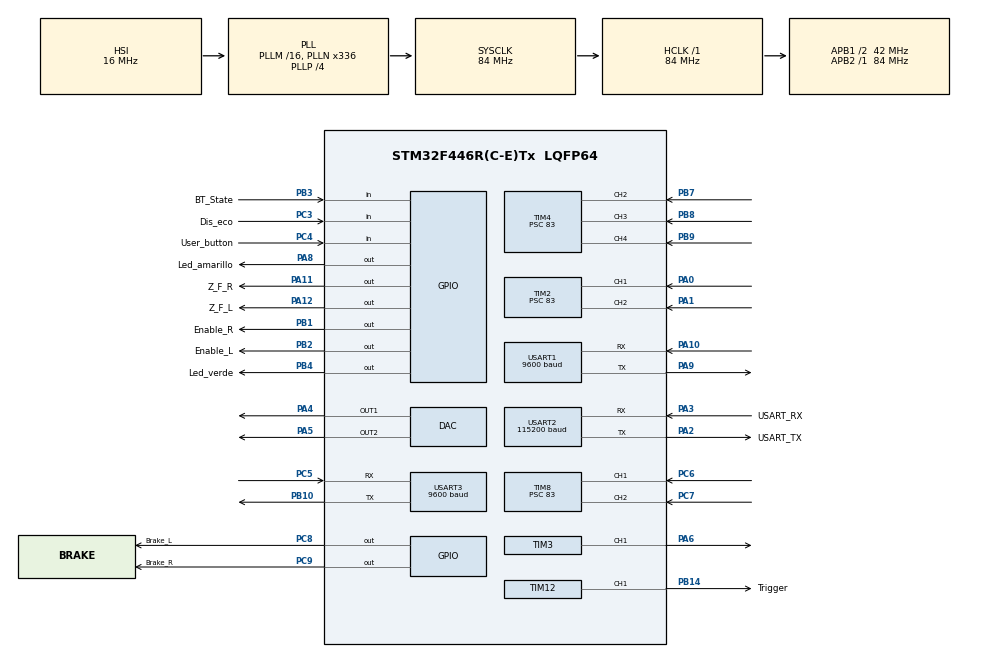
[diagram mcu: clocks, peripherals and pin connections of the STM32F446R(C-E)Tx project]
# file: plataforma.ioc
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Dma.Request0=USART1_TX
Dma.Request1=USART3_TX
Dma.USART1_TX.0.Direction=DMA_MEMORY_TO_PERIPH
Dma.USART1_TX.0.FIFOMode=DMA_FIFOMODE_DISABLE
Dma.USART1_TX.0.Instance=DMA2_Stream7
Dma.USART1_TX.0.MemDataAlignment=DMA_MDATAALIGN_BYTE
Dma.USART1_TX.0.MemInc=DMA_MINC_ENABLE
Dma.USART1_TX.0.Mode=DMA_NORMAL
Dma.USART1_TX.0.PeriphDataAlignment=DMA_PDATAALIGN_BYTE
Dma.USART1_TX.0.PeriphInc=DMA_PINC_DISABLE
Dma.USART1_TX.0.Priority=DMA_PRIORITY_LOW
Dma.USART3_TX.1.Direction=DMA_MEMORY_TO_PERIPH
Dma.USART3_TX.1.FIFOMode=DMA_FIFOMODE_DISABLE
Dma.USART3_TX.1.Instance=DMA1_Stream3
Dma.USART3_TX.1.MemDataAlignment=DMA_MDATAALIGN_BYTE
Dma.USART3_TX.1.MemInc=DMA_MINC_ENABLE
Dma.USART3_TX.1.Mode=DMA_NORMAL
Dma.USART3_TX.1.PeriphDataAlignment=DMA_PDATAALIGN_BYTE
Dma.USART3_TX.1.PeriphInc=DMA_PINC_DISABLE
Dma.USART3_TX.1.Priority=DMA_PRIORITY_LOW
Mcu.Family=STM32F4
Mcu.Name=STM32F446R(C-E)Tx
Mcu.Package=LQFP64
NVIC.DMA1_Stream3_IRQn=true\:0\:0\:false\:false\:true\:false\:true
NVIC.DMA2_Stream7_IRQn=true\:0\:0\:false\:false\:true\:false\:true
NVIC.PriorityGroup=NVIC_PRIORITYGROUP_0
NVIC.TIM2_IRQn=true\:0\:0\:false\:false\:true\:true\:true
NVIC.TIM4_IRQn=true\:0\:0\:false\:false\:true\:true\:true
NVIC.TIM8_CC_IRQn=true\:0\:0\:false\:false\:true\:true\:true
NVIC.USART1_IRQn=true\:0\:0\:false\:false\:true\:true\:true
NVIC.USART3_IRQn=true\:0\:0\:false\:false\:true\:true\:true
PA0-WKUP.Signal=S_TIM2_CH1_ETR
PA1.Signal=S_TIM2_CH2
PA10.Mode=Asynchronous
PA10.Signal=USART1_RX
PA11.GPIO_Label=Z_F_R
PA11.Signal=GPIO_Output
PA12.GPIO_Label=Z_F_L
PA12.Signal=GPIO_Output
PA13.GPIO_Label=TMS
PA13.Mode=Serial_Wire
PA13.Signal=SYS_JTMS-SWDIO
PA14.GPIO_Label=TCK
PA14.Mode=Serial_Wire
PA14.Signal=SYS_JTCK-SWCLK
PA2.GPIO_Label=USART_TX
PA2.Mode=Asynchronous
PA2.Signal=USART2_TX
PA3.GPIO_Label=USART_RX
PA3.Mode=Asynchronous
PA3.Signal=USART2_RX
PA4.Signal=COMP_DAC1_group
PA5.Signal=COMP_DAC2_group
PA6.Signal=S_TIM3_CH1
PA8.GPIO_Label=Led_amarillo
PA8.GPIO_Speed=GPIO_SPEED_FREQ_LOW
PA8.Signal=GPIO_Output
PA9.Mode=Asynchronous
PA9.Signal=USART1_TX
PB1.GPIO_Label=Enable_R
PB1.Signal=GPIO_Output
PB10.Mode=Asynchronous
PB10.Signal=USART3_TX
PB14.GPIO_Label=Trigger
PB14.Signal=S_TIM12_CH1
PB2.GPIO_Label=Enable_L
PB2.Signal=GPIO_Output
PB3.GPIO_Label=BT_State
PB3.Signal=GPIO_Input
PB4.GPIO_Label=Led_verde
PB4.Signal=GPIO_Output
PB7.Signal=S_TIM4_CH2
PB8.Signal=S_TIM4_CH3
PB9.Signal=S_TIM4_CH4
PC3.GPIO_Label=Dis_eco
PC3.GPIO_PuPd=GPIO_PULLUP
PC3.Signal=GPIO_Input
PC4.GPIO_Label=User_button
PC4.GPIO_PuPd=GPIO_PULLUP
PC4.Signal=GPIO_Input
PC5.Mode=Asynchronous
PC5.Signal=USART3_RX
PC6.Signal=S_TIM8_CH1
PC7.Signal=S_TIM8_CH2
PC8.GPIO_Label=Brake_L
PC8.Signal=GPIO_Output
PC9.GPIO_Label=Brake_R
PC9.Signal=GPIO_Output
ProjectManager.HeapSize=0x200
ProjectManager.StackSize=0x400
ProjectManager.TargetToolchain=STM32CubeIDE
RCC.48MHZClocksFreq_Value=84000000
RCC.AHBFreq_Value=84000000
RCC.APB1CLKDivider=RCC_HCLK_DIV2
RCC.APB1Freq_Value=42000000
RCC.APB1TimFreq_Value=84000000
RCC.APB2Freq_Value=84000000
RCC.APB2TimFreq_Value=84000000
RCC.CortexFreq_Value=84000000
RCC.FLatency-AdvancedSettings=FLASH_LATENCY_2
RCC.HCLKFreq_Value=84000000
RCC.HSE_VALUE=8000000
RCC.HSI_VALUE=16000000
RCC.PLLN=336
RCC.PLLP=RCC_PLLP_DIV4
RCC.SYSCLKFreq_VALUE=84000000
RCC.SYSCLKSource=RCC_SYSCLKSOURCE_PLLCLK
RCC.USBFreq_Value=168000000
RCC.VCOOutputFreq_Value=336000000
SH.COMP_DAC1_group.0=DAC_OUT1,DAC_OUT1
SH.COMP_DAC2_group.0=DAC_OUT2,DAC_OUT2
SH.S_TIM12_CH1.0=TIM12_CH1,PWM Generation1 CH1
SH.S_TIM2_CH1_ETR.0=TIM2_CH1,Input_Capture1_from_TI1
SH.S_TIM2_CH2.0=TIM2_CH2,Input_Capture2_from_TI2
SH.S_TIM3_CH1.0=TIM3_CH1,PWM Generation1 CH1
SH.S_TIM4_CH2.0=TIM4_CH2,Input_Capture2_from_TI2
SH.S_TIM4_CH3.0=TIM4_CH3,Input_Capture3_from_TI3
SH.S_TIM4_CH4.0=TIM4_CH4,Input_Capture4_from_TI4
SH.S_TIM8_CH1.0=TIM8_CH1,Input_Capture1_from_TI1
SH.S_TIM8_CH2.0=TIM8_CH2,Input_Capture2_from_TI2
TIM12.AutoReloadPreload=TIM_AUTORELOAD_PRELOAD_ENABLE
TIM12.Channel-PWM\ Generation1\ CH1=TIM_CHANNEL_1
TIM12.Period=65000
TIM12.Prescaler=167
TIM12.Pulse-PWM\ Generation1\ CH1=1000
TIM2.Channel-Input_Capture1_from_TI1=TIM_CHANNEL_1
TIM2.Channel-Input_Capture2_from_TI2=TIM_CHANNEL_2
TIM2.Prescaler=83
TIM3.Channel-PWM\ Generation1\ CH1=TIM_CHANNEL_1
TIM4.AutoReloadPreload=TIM_AUTORELOAD_PRELOAD_ENABLE
TIM4.Channel-Input_Capture2_from_TI2=TIM_CHANNEL_2
TIM4.Channel-Input_Capture3_from_TI3=TIM_CHANNEL_3
TIM4.Channel-Input_Capture4_from_TI4=TIM_CHANNEL_4
TIM4.ICFilter_CH2=8
TIM4.ICFilter_CH3=8
TIM4.ICFilter_CH4=8
TIM4.ICPolarity_CH2=TIM_INPUTCHANNELPOLARITY_BOTHEDGE
TIM4.ICPolarity_CH3=TIM_INPUTCHANNELPOLARITY_BOTHEDGE
TIM4.ICPolarity_CH4=TIM_INPUTCHANNELPOLARITY_BOTHEDGE
TIM4.Prescaler=83
TIM8.AutoReloadPreload=TIM_AUTORELOAD_PRELOAD_ENABLE
TIM8.Channel-Input_Capture1_from_TI1=TIM_CHANNEL_1
TIM8.Channel-Input_Capture2_from_TI2=TIM_CHANNEL_2
TIM8.ICFilter_CH1=8
TIM8.ICFilter_CH2=8
TIM8.ICPolarity_CH1=TIM_INPUTCHANNELPOLARITY_BOTHEDGE
TIM8.ICPolarity_CH2=TIM_INPUTCHANNELPOLARITY_BOTHEDGE
TIM8.Prescaler=83
USART1.BaudRate=9600
USART1.VirtualMode=VM_ASYNC
USART2.BaudRate=115200
USART2.VirtualMode=VM_ASYNC
USART3.BaudRate=9600
USART3.VirtualMode=VM_ASYNC
VP_TIM12_VS_ClockSourceINT.Mode=Internal
VP_TIM2_VS_ClockSourceINT.Mode=Internal
VP_TIM3_VS_ClockSourceINT.Mode=Internal
VP_TIM4_VS_ClockSourceINT.Mode=Internal
board=NUCLEO-F446RE

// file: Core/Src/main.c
/* USER CODE BEGIN Header */
/**
  ******************************************************************************
  * @file           : main.c
  * @brief          : Main program body
  ******************************************************************************
  * @attention
  *
  * <h2><center>&copy; Copyright (c) 2022 STMicroelectronics.
  * All rights reserved.</center></h2>
  *
  * This software component is licensed by ST under BSD 3-Clause license,
  * the "License"; You may not use this file except in compliance with the
  * License. You may obtain a copy of the License at:
  *                        opensource.org/licenses/BSD-3-Clause
  *
  ******************************************************************************
  */

/* USER CODE END Header */
#include "main.h"

/* USER CODE BEGIN Includes */
/*Este archivo contiene, fundamentalmente, la configuración del hardware
 * del STM32 para el manejo de la Silla Exploradora, inicialización de algunas
 * variables, el gestor de tareas y la rutina HAL_IntTick que se ejecuta cada 1ms.
 *
 * En concreto, el hardware utilizado es:
 * USART1 Para la comunicación con el móvil a través de un enlace Bluetooth a 9600bps
 * USART2 Para la programación
 * USART3 Para el uso del DSPmp3 a una comunicación a 9600bps
 *
 * LEDS:
 * 	Amarillo: PA8
 * 		Continuo: Conectado a Bluetooth y Comenzar pulsado
 * 		Discontinuo Lento: Esperando botón Comenzar
 * 		Discontinuo Rápido: Sin conectar a Bluetooth
 * 	Verde: PB4
 *		Discontinuo Lento: Esperando pulsación
 *		Discontinua rápido: Marcha atrás
 *		Continuo: Marcha adelante
 *		Apagado: Esperando conexión y comenzar
 *
 *	Conector para pulsador adaptado: PC4
 *	Conector para deshabilitar ultrasonidos: PC3
 *	Controlador de motores
 *		Para cada uno de los motores, derecho e izquierdo, tenemos las
 *		siguientes señales
 *					R			L		tipo
 *		Enable		PB1			PB2		salida STM32
 *		dirección	PA11		PA12	salida STM32
 *		Brake		PC9			PC8		salida STM32
 *		Signal		PA0			PA1		entrada STM32
 *		DAC			PA5			PA4		salida STM32
 *
 *		El motor izquierdo tiene etiqueta 0, y el derecho, la 1
 *
 *	Convertidor DAC para el control de los motores
 *	Anillo de sensores de ultrasonidos.
 *		Cada sensor de ultrasonidos tiene dos terminales de control: Eco, Trigger
 *		Los sensores se enumeran de la siguiente forma. Situándonos desde la parte
 *		trasera de la plataforma, de izquierda a derecha, los sensores frontales
 *		son el 0,1,2 y los traseros, el 3 y 4
 *
 *		El trigger es común para los 5 ultrasonidos PB14
 *
 *				1	2	3	4	5
 *		Eco		PB6	PB7	PB8	PC6	PC7
 *
 *
 *	Se configuran Timers para el control del sistema
 *
 *	Timer2 -> Velocidad de los motores. 0 izquerda, 1 derecha, conectados
 *		a PA01 y PA1 respectivamente. Es timer de 32 bits, con prescaler de 83
 *		Channel 1 y 2 input capture RISING EDGE
 *	Timer12-> Generación de Trigger para los sensores de ultrasonidos
 *		Prescaler 83, period =60000, pulse =40, PWM1 Ch1, TriggerEvent=Update
 *		Auto-reload = enable
 *
 *	Timer4 -> Medición de pulsos para los ecos de los sensores delanteros (0,1,2)
 *		Prescaler 83, period=65535
 *		Ch1-> PB6,Input capture, BOTH EDGES
 *		Ch2-> PB7,Input capture, BOTH EDGES
 *		Ch3-> PB8,Input capture, BOTH EDGES
 *
 *	Timer8 -> Medición de pulsos para los ecos de los sensores traseros (3,4)
 *		Prescaler 83, period=65535
 *		Ch1 ICDM, BOTH EDGES
 *		Ch2 ICDM, BOTH EDGES
 *
 *
 * *
 *  */
#include "globales.h"

void InicializaVariables(void);
void GestorTareas(void);
/* USER CODE END Includes */

DAC_HandleTypeDef hdac;

TIM_HandleTypeDef htim2;
TIM_HandleTypeDef htim3;
TIM_HandleTypeDef htim4;
TIM_HandleTypeDef htim8;
TIM_HandleTypeDef htim12;

UART_HandleTypeDef huart1;
UART_HandleTypeDef huart2;
UART_HandleTypeDef huart3;
DMA_HandleTypeDef hdma_usart1_tx;
DMA_HandleTypeDef hdma_usart3_tx;

void SystemClock_Config(void);
static void MX_GPIO_Init(void);
static void MX_USART2_UART_Init(void);
static void MX_DMA_Init(void);
static void MX_USART1_UART_Init(void);
static void MX_DAC_Init(void);
static void MX_TIM2_Init(void);
static void MX_TIM3_Init(void);
static void MX_TIM12_Init(void);
static void MX_TIM8_Init(void);
static void MX_TIM4_Init(void);
static void MX_USART3_UART_Init(void);

/* USER CODE BEGIN 0 */
extern int16_t mandog[2]; // Para el control de los motores

/* USER CODE END 0 */

int main(void)
{
  /* USER CODE BEGIN 1 */
	//tick.tiempo = 0;
//	uint8_t user_input;
  /* USER CODE END 1 */

  /* MCU Configuration--------------------------------------------------------*/

  /* Reset of all peripherals, Initializes the Flash interface and the Systick. */
  HAL_Init();

  /* Configure the system clock */
  SystemClock_Config();

  /* Initialize all configured peripherals */
  MX_GPIO_Init();
  MX_USART2_UART_Init();
  MX_DMA_Init();
  MX_USART1_UART_Init();
  MX_DAC_Init();
  MX_TIM2_Init();
  MX_TIM3_Init();
  MX_TIM12_Init();
  MX_TIM8_Init();
  MX_TIM4_Init();
  MX_USART3_UART_Init();
  /* USER CODE BEGIN 2 */

  //Para el control del motor
  HAL_DAC_Start(&hdac, DAC_CHANNEL_1);
  HAL_DAC_Start(&hdac, DAC_CHANNEL_2);

  //Para la medida de los Hall
  HAL_TIM_IC_Start_IT(&htim2, TIM_CHANNEL_1);
  HAL_TIM_IC_Start_IT(&htim2, TIM_CHANNEL_2);

  //Para el trigger de los dispositivos de ultrasonidos
   HAL_TIM_PWM_Start(&htim12,TIM_CHANNEL_1);

   //Para los ecos de los ultrasonidos traseros
   HAL_TIM_IC_Start_IT(&htim8, TIM_CHANNEL_1);
   HAL_TIM_IC_Start_IT(&htim8, TIM_CHANNEL_2);

   //Ppara los ecos de los ultrasonidos delanteros
    HAL_TIM_IC_Start_IT(&htim4, TIM_CHANNEL_2);
    HAL_TIM_IC_Start_IT(&htim4, TIM_CHANNEL_3);
    HAL_TIM_IC_Start_IT(&htim4, TIM_CHANNEL_4);

  InicializaVariables();
 // bt_command='0';
  //HAL_UART_Receive_IT(&huart1, &bt_command, sizeof(uint8_t));
  /* USER CODE END 2 */

  /* Infinite loop */
  /* USER CODE BEGIN WHILE */
  //ActualizaVelocidad(-700,500);
  while (1)
  {
    /* USER CODE END WHILE */

    /* USER CODE BEGIN 3 */

/*		HAL_DAC_SetValue(&hdac, DAC_CHANNEL_1,DAC_ALIGN_12B_R , 1500);
		HAL_DAC_SetValue(&hdac, DAC_CHANNEL_2,DAC_ALIGN_12B_R , 1500);
*/
	GestorTareas();
/*
	if(com.bt_state)
		hard.leds=(LEDY_ON_1_DE_2 | LEDG_ON_1_DE_5);
	else
		hard.leds=(LEDY_OFF | LEDG_ON);
*/
	/*if(tick.tiempo == 4000)
	{

   	   ActualizaVelocidad(600,400);
	}
		if(tick.tiempo ==8000)
		{
		   	ActualizaVelocidad(0,0);
			tick.tiempo = 0;
		}

	DetectaMovimiento();
*/
/*
	HAL_DAC_SetValue(&hdac, 0,DAC_ALIGN_12B_R , 500);
	HAL_GPIO_WritePin(GPIOB, GPIO_PIN_2, GPIO_PIN_RESET);  //Disable
	//HAL_GPIO_WritePin(GPIOC, GPIO_PIN_9, GPIO_PIN_SET);  //Brake
	HAL_GPIO_WritePin(GPIOA, GPIO_PIN_12, GPIO_PIN_RESET); //Direction

	HAL_DAC_SetValue(&hdac, 16 ,DAC_ALIGN_12B_R , 500);
	HAL_GPIO_WritePin(GPIOB, GPIO_PIN_1, GPIO_PIN_RESET);  //Disable
	//HAL_GPIO_WritePin(GPIOC, GPIO_PIN_9, GPIO_PIN_SET);  //Brake
	HAL_GPIO_WritePin(GPIOA, GPIO_PIN_11, GPIO_PIN_SET); //Direction
*/

  }
  /* USER CODE END 3 */
}

void SystemClock_Config(void)
{
  RCC_OscInitTypeDef RCC_OscInitStruct = {0};
  RCC_ClkInitTypeDef RCC_ClkInitStruct = {0};

  /** Configure the main internal regulator output voltage
  */
  __HAL_RCC_PWR_CLK_ENABLE();
  __HAL_PWR_VOLTAGESCALING_CONFIG(PWR_REGULATOR_VOLTAGE_SCALE3);
  /** Initializes the RCC Oscillators according to the specified parameters
  * in the RCC_OscInitTypeDef structure.
  */
  RCC_OscInitStruct.OscillatorType = RCC_OSCILLATORTYPE_HSI;
  RCC_OscInitStruct.HSIState = RCC_HSI_ON;
  RCC_OscInitStruct.HSICalibrationValue = RCC_HSICALIBRATION_DEFAULT;
  RCC_OscInitStruct.PLL.PLLState = RCC_PLL_ON;
  RCC_OscInitStruct.PLL.PLLSource = RCC_PLLSOURCE_HSI;
  RCC_OscInitStruct.PLL.PLLM = 16;
  RCC_OscInitStruct.PLL.PLLN = 336;
  RCC_OscInitStruct.PLL.PLLP = RCC_PLLP_DIV4;
  RCC_OscInitStruct.PLL.PLLQ = 2;
  RCC_OscInitStruct.PLL.PLLR = 2;
  if (HAL_RCC_OscConfig(&RCC_OscInitStruct) != HAL_OK)
  {
    Error_Handler();
  }
  /** Initializes the CPU, AHB and APB buses clocks
  */
  RCC_ClkInitStruct.ClockType = RCC_CLOCKTYPE_HCLK|RCC_CLOCKTYPE_SYSCLK
                              |RCC_CLOCKTYPE_PCLK1|RCC_CLOCKTYPE_PCLK2;
  RCC_ClkInitStruct.SYSCLKSource = RCC_SYSCLKSOURCE_PLLCLK;
  RCC_ClkInitStruct.AHBCLKDivider = RCC_SYSCLK_DIV1;
  RCC_ClkInitStruct.APB1CLKDivider = RCC_HCLK_DIV2;
  RCC_ClkInitStruct.APB2CLKDivider = RCC_HCLK_DIV1;

  if (HAL_RCC_ClockConfig(&RCC_ClkInitStruct, FLASH_LATENCY_2) != HAL_OK)
  {
    Error_Handler();
  }
}

static void MX_DAC_Init(void)
{

  DAC_ChannelConfTypeDef sConfig = {0};

  /** DAC Initialization
  */
  hdac.Instance = DAC;
  if (HAL_DAC_Init(&hdac) != HAL_OK)
  {
    Error_Handler();
  }
  /** DAC channel OUT1 config
  */
  sConfig.DAC_Trigger = DAC_TRIGGER_NONE;
  sConfig.DAC_OutputBuffer = DAC_OUTPUTBUFFER_ENABLE;
  if (HAL_DAC_ConfigChannel(&hdac, &sConfig, DAC_CHANNEL_1) != HAL_OK)
  {
    Error_Handler();
  }
  /** DAC channel OUT2 config
  */
  if (HAL_DAC_ConfigChannel(&hdac, &sConfig, DAC_CHANNEL_2) != HAL_OK)
  {
    Error_Handler();
  }

}

static void MX_TIM2_Init(void)
{

  TIM_ClockConfigTypeDef sClockSourceConfig = {0};
  TIM_MasterConfigTypeDef sMasterConfig = {0};
  TIM_IC_InitTypeDef sConfigIC = {0};

  htim2.Instance = TIM2;
  htim2.Init.Prescaler = 83;
  htim2.Init.CounterMode = TIM_COUNTERMODE_UP;
  htim2.Init.Period = 4294967295;
  htim2.Init.ClockDivision = TIM_CLOCKDIVISION_DIV1;
  htim2.Init.AutoReloadPreload = TIM_AUTORELOAD_PRELOAD_DISABLE;
  if (HAL_TIM_Base_Init(&htim2) != HAL_OK)
  {
    Error_Handler();
  }
  sClockSourceConfig.ClockSource = TIM_CLOCKSOURCE_INTERNAL;
  if (HAL_TIM_ConfigClockSource(&htim2, &sClockSourceConfig) != HAL_OK)
  {
    Error_Handler();
  }
  if (HAL_TIM_IC_Init(&htim2) != HAL_OK)
  {
    Error_Handler();
  }
  sMasterConfig.MasterOutputTrigger = TIM_TRGO_RESET;
  sMasterConfig.MasterSlaveMode = TIM_MASTERSLAVEMODE_DISABLE;
  if (HAL_TIMEx_MasterConfigSynchronization(&htim2, &sMasterConfig) != HAL_OK)
  {
    Error_Handler();
  }
  sConfigIC.ICPolarity = TIM_INPUTCHANNELPOLARITY_RISING;
  sConfigIC.ICSelection = TIM_ICSELECTION_DIRECTTI;
  sConfigIC.ICPrescaler = TIM_ICPSC_DIV1;
  sConfigIC.ICFilter = 0;
  if (HAL_TIM_IC_ConfigChannel(&htim2, &sConfigIC, TIM_CHANNEL_1) != HAL_OK)
  {
    Error_Handler();
  }
  if (HAL_TIM_IC_ConfigChannel(&htim2, &sConfigIC, TIM_CHANNEL_2) != HAL_OK)
  {
    Error_Handler();
  }

}

static void MX_TIM3_Init(void)
{

  TIM_ClockConfigTypeDef sClockSourceConfig = {0};
  TIM_MasterConfigTypeDef sMasterConfig = {0};
  TIM_OC_InitTypeDef sConfigOC = {0};

  htim3.Instance = TIM3;
  htim3.Init.Prescaler = 0;
  htim3.Init.CounterMode = TIM_COUNTERMODE_UP;
  htim3.Init.Period = 65535;
  htim3.Init.ClockDivision = TIM_CLOCKDIVISION_DIV1;
  htim3.Init.AutoReloadPreload = TIM_AUTORELOAD_PRELOAD_DISABLE;
  if (HAL_TIM_Base_Init(&htim3) != HAL_OK)
  {
    Error_Handler();
  }
  sClockSourceConfig.ClockSource = TIM_CLOCKSOURCE_INTERNAL;
  if (HAL_TIM_ConfigClockSource(&htim3, &sClockSourceConfig) != HAL_OK)
  {
    Error_Handler();
  }
  if (HAL_TIM_PWM_Init(&htim3) != HAL_OK)
  {
    Error_Handler();
  }
  sMasterConfig.MasterOutputTrigger = TIM_TRGO_RESET;
  sMasterConfig.MasterSlaveMode = TIM_MASTERSLAVEMODE_DISABLE;
  if (HAL_TIMEx_MasterConfigSynchronization(&htim3, &sMasterConfig) != HAL_OK)
  {
    Error_Handler();
  }
  sConfigOC.OCMode = TIM_OCMODE_PWM1;
  sConfigOC.Pulse = 0;
  sConfigOC.OCPolarity = TIM_OCPOLARITY_HIGH;
  sConfigOC.OCFastMode = TIM_OCFAST_DISABLE;
  if (HAL_TIM_PWM_ConfigChannel(&htim3, &sConfigOC, TIM_CHANNEL_1) != HAL_OK)
  {
    Error_Handler();
  }
  HAL_TIM_MspPostInit(&htim3);

}

static void MX_TIM4_Init(void)
{

  TIM_ClockConfigTypeDef sClockSourceConfig = {0};
  TIM_MasterConfigTypeDef sMasterConfig = {0};
  TIM_IC_InitTypeDef sConfigIC = {0};

  htim4.Instance = TIM4;
  htim4.Init.Prescaler = 83;
  htim4.Init.CounterMode = TIM_COUNTERMODE_UP;
  htim4.Init.Period = 65535;
  htim4.Init.ClockDivision = TIM_CLOCKDIVISION_DIV1;
  htim4.Init.AutoReloadPreload = TIM_AUTORELOAD_PRELOAD_ENABLE;
  if (HAL_TIM_Base_Init(&htim4) != HAL_OK)
  {
    Error_Handler();
  }
  sClockSourceConfig.ClockSource = TIM_CLOCKSOURCE_INTERNAL;
  if (HAL_TIM_ConfigClockSource(&htim4, &sClockSourceConfig) != HAL_OK)
  {
    Error_Handler();
  }
  if (HAL_TIM_IC_Init(&htim4) != HAL_OK)
  {
    Error_Handler();
  }
  sMasterConfig.MasterOutputTrigger = TIM_TRGO_RESET;
  sMasterConfig.MasterSlaveMode = TIM_MASTERSLAVEMODE_DISABLE;
  if (HAL_TIMEx_MasterConfigSynchronization(&htim4, &sMasterConfig) != HAL_OK)
  {
    Error_Handler();
  }
  sConfigIC.ICPolarity = TIM_INPUTCHANNELPOLARITY_BOTHEDGE;
  sConfigIC.ICSelection = TIM_ICSELECTION_DIRECTTI;
  sConfigIC.ICPrescaler = TIM_ICPSC_DIV1;
  sConfigIC.ICFilter = 8;
  if (HAL_TIM_IC_ConfigChannel(&htim4, &sConfigIC, TIM_CHANNEL_2) != HAL_OK)
  {
    Error_Handler();
  }
  if (HAL_TIM_IC_ConfigChannel(&htim4, &sConfigIC, TIM_CHANNEL_3) != HAL_OK)
  {
    Error_Handler();
  }
  if (HAL_TIM_IC_ConfigChannel(&htim4, &sConfigIC, TIM_CHANNEL_4) != HAL_OK)
  {
    Error_Handler();
  }

}

static void MX_TIM8_Init(void)
{

  TIM_MasterConfigTypeDef sMasterConfig = {0};
  TIM_IC_InitTypeDef sConfigIC = {0};

  htim8.Instance = TIM8;
  htim8.Init.Prescaler = 83;
  htim8.Init.CounterMode = TIM_COUNTERMODE_UP;
  htim8.Init.Period = 65535;
  htim8.Init.ClockDivision = TIM_CLOCKDIVISION_DIV1;
  htim8.Init.RepetitionCounter = 0;
  htim8.Init.AutoReloadPreload = TIM_AUTORELOAD_PRELOAD_ENABLE;
  if (HAL_TIM_IC_Init(&htim8) != HAL_OK)
  {
    Error_Handler();
  }
  sMasterConfig.MasterOutputTrigger = TIM_TRGO_RESET;
  sMasterConfig.MasterSlaveMode = TIM_MASTERSLAVEMODE_DISABLE;
  if (HAL_TIMEx_MasterConfigSynchronization(&htim8, &sMasterConfig) != HAL_OK)
  {
    Error_Handler();
  }
  sConfigIC.ICPolarity = TIM_INPUTCHANNELPOLARITY_BOTHEDGE;
  sConfigIC.ICSelection = TIM_ICSELECTION_DIRECTTI;
  sConfigIC.ICPrescaler = TIM_ICPSC_DIV1;
  sConfigIC.ICFilter = 8;
  if (HAL_TIM_IC_ConfigChannel(&htim8, &sConfigIC, TIM_CHANNEL_1) != HAL_OK)
  {
    Error_Handler();
  }
  if (HAL_TIM_IC_ConfigChannel(&htim8, &sConfigIC, TIM_CHANNEL_2) != HAL_OK)
  {
    Error_Handler();
  }

}

static void MX_TIM12_Init(void)
{

  TIM_ClockConfigTypeDef sClockSourceConfig = {0};
  TIM_OC_InitTypeDef sConfigOC = {0};

  htim12.Instance = TIM12;
  htim12.Init.Prescaler = 167;
  htim12.Init.CounterMode = TIM_COUNTERMODE_UP;
  htim12.Init.Period = 65000;
  htim12.Init.ClockDivision = TIM_CLOCKDIVISION_DIV1;
  htim12.Init.AutoReloadPreload = TIM_AUTORELOAD_PRELOAD_ENABLE;
  if (HAL_TIM_Base_Init(&htim12) != HAL_OK)
  {
    Error_Handler();
  }
  sClockSourceConfig.ClockSource = TIM_CLOCKSOURCE_INTERNAL;
  if (HAL_TIM_ConfigClockSource(&htim12, &sClockSourceConfig) != HAL_OK)
  {
    Error_Handler();
  }
  if (HAL_TIM_PWM_Init(&htim12) != HAL_OK)
  {
    Error_Handler();
  }
  sConfigOC.OCMode = TIM_OCMODE_PWM1;
  sConfigOC.Pulse = 1000;
  sConfigOC.OCPolarity = TIM_OCPOLARITY_HIGH;
  sConfigOC.OCFastMode = TIM_OCFAST_DISABLE;
  if (HAL_TIM_PWM_ConfigChannel(&htim12, &sConfigOC, TIM_CHANNEL_1) != HAL_OK)
  {
    Error_Handler();
  }
  HAL_TIM_MspPostInit(&htim12);

}

static void MX_USART1_UART_Init(void)
{

  huart1.Instance = USART1;
  huart1.Init.BaudRate = 9600;
  huart1.Init.WordLength = UART_WORDLENGTH_8B;
  huart1.Init.StopBits = UART_STOPBITS_1;
  huart1.Init.Parity = UART_PARITY_NONE;
  huart1.Init.Mode = UART_MODE_TX_RX;
  huart1.Init.HwFlowCtl = UART_HWCONTROL_NONE;
  huart1.Init.OverSampling = UART_OVERSAMPLING_16;
  if (HAL_UART_Init(&huart1) != HAL_OK)
  {
    Error_Handler();
  }

}

static void MX_USART2_UART_Init(void)
{

  huart2.Instance = USART2;
  huart2.Init.BaudRate = 115200;
  huart2.Init.WordLength = UART_WORDLENGTH_8B;
  huart2.Init.StopBits = UART_STOPBITS_1;
  huart2.Init.Parity = UART_PARITY_NONE;
  huart2.Init.Mode = UART_MODE_TX_RX;
  huart2.Init.HwFlowCtl = UART_HWCONTROL_NONE;
  huart2.Init.OverSampling = UART_OVERSAMPLING_16;
  if (HAL_UART_Init(&huart2) != HAL_OK)
  {
    Error_Handler();
  }

}

static void MX_USART3_UART_Init(void)
{

  huart3.Instance = USART3;
  huart3.Init.BaudRate = 9600;
  huart3.Init.WordLength = UART_WORDLENGTH_8B;
  huart3.Init.StopBits = UART_STOPBITS_1;
  huart3.Init.Parity = UART_PARITY_NONE;
  huart3.Init.Mode = UART_MODE_TX_RX;
  huart3.Init.HwFlowCtl = UART_HWCONTROL_NONE;
  huart3.Init.OverSampling = UART_OVERSAMPLING_16;
  if (HAL_UART_Init(&huart3) != HAL_OK)
  {
    Error_Handler();
  }

}

static void MX_DMA_Init(void)
{

  /* DMA controller clock enable */
  __HAL_RCC_DMA2_CLK_ENABLE();
  __HAL_RCC_DMA1_CLK_ENABLE();

  /* DMA interrupt init */
  /* DMA1_Stream3_IRQn interrupt configuration */
  HAL_NVIC_SetPriority(DMA1_Stream3_IRQn, 0, 0);
  HAL_NVIC_EnableIRQ(DMA1_Stream3_IRQn);
  /* DMA2_Stream7_IRQn interrupt configuration */
  HAL_NVIC_SetPriority(DMA2_Stream7_IRQn, 0, 0);
  HAL_NVIC_EnableIRQ(DMA2_Stream7_IRQn);

}

static void MX_GPIO_Init(void)
{
  GPIO_InitTypeDef GPIO_InitStruct = {0};

  /* GPIO Ports Clock Enable */
  __HAL_RCC_GPIOC_CLK_ENABLE();
  __HAL_RCC_GPIOA_CLK_ENABLE();
  __HAL_RCC_GPIOB_CLK_ENABLE();

  /*Configure GPIO pin Output Level */
  HAL_GPIO_WritePin(GPIOB, Enable_R_Pin|Enable_L_Pin|Led_verde_Pin, GPIO_PIN_RESET);

  /*Configure GPIO pin Output Level */
  HAL_GPIO_WritePin(GPIOC, Brake_L_Pin|Brake_R_Pin, GPIO_PIN_RESET);

  /*Configure GPIO pin Output Level */
  HAL_GPIO_WritePin(GPIOA, Led_amarillo_Pin|Z_F_R_Pin|Z_F_L_Pin, GPIO_PIN_RESET);

  /*Configure GPIO pins : Dis_eco_Pin User_button_Pin */
  GPIO_InitStruct.Pin = Dis_eco_Pin|User_button_Pin;
  GPIO_InitStruct.Mode = GPIO_MODE_INPUT;
  GPIO_InitStruct.Pull = GPIO_PULLUP;
  HAL_GPIO_Init(GPIOC, &GPIO_InitStruct);

  /*Configure GPIO pins : Enable_R_Pin Enable_L_Pin Led_verde_Pin */
  GPIO_InitStruct.Pin = Enable_R_Pin|Enable_L_Pin|Led_verde_Pin;
  GPIO_InitStruct.Mode = GPIO_MODE_OUTPUT_PP;
  GPIO_InitStruct.Pull = GPIO_NOPULL;
  GPIO_InitStruct.Speed = GPIO_SPEED_FREQ_LOW;
  HAL_GPIO_Init(GPIOB, &GPIO_InitStruct);

  /*Configure GPIO pins : Brake_L_Pin Brake_R_Pin */
  GPIO_InitStruct.Pin = Brake_L_Pin|Brake_R_Pin;
  GPIO_InitStruct.Mode = GPIO_MODE_OUTPUT_PP;
  GPIO_InitStruct.Pull = GPIO_NOPULL;
  GPIO_InitStruct.Speed = GPIO_SPEED_FREQ_LOW;
  HAL_GPIO_Init(GPIOC, &GPIO_InitStruct);

  /*Configure GPIO pins : Led_amarillo_Pin Z_F_R_Pin Z_F_L_Pin */
  GPIO_InitStruct.Pin = Led_amarillo_Pin|Z_F_R_Pin|Z_F_L_Pin;
  GPIO_InitStruct.Mode = GPIO_MODE_OUTPUT_PP;
  GPIO_InitStruct.Pull = GPIO_NOPULL;
  GPIO_InitStruct.Speed = GPIO_SPEED_FREQ_LOW;
  HAL_GPIO_Init(GPIOA, &GPIO_InitStruct);

  /*Configure GPIO pin : BT_State_Pin */
  GPIO_InitStruct.Pin = BT_State_Pin;
  GPIO_InitStruct.Mode = GPIO_MODE_INPUT;
  GPIO_InitStruct.Pull = GPIO_NOPULL;
  HAL_GPIO_Init(BT_State_GPIO_Port, &GPIO_InitStruct);

}

/* USER CODE BEGIN 4 */
void HAL_IncTick(void)
{
	/*Esta función se ejecuta cada 1ms. Contiene el incremento de las variables
	 * globales que se usan en cada una de las tareas*/
	uint8_t i;

	tick.tiempo++;   //Para el control de la navegación
					 //Esta variable controla el tiempo que está operando la silla
					 //entre pulsaciones
	tick.tiempo_backward++; //Para el control de la navegación
					//Este tiempo se utiliza para controlar el tiempo de la marcha atrás

	/* t_blink se usa para la activación intermitente de los leds
	 * Cada ms se incrementan estas variables
	 * */
	for(i=0;i<2;i++)
		tick.t_blink[i]+=1;

	/*Para el pulsador, eliminar el rebote*/
	tick.t_rebote++;

	/*Para el pulsador que habilita el eco, eliminar el rebote*/
	tick.t_rebote_pul_eco++;

	/*Las variables tiempo_temporal_med y tiempo_med se utilizan paras
	 * el protocolo de comunicaciones. La primera establece intervalos de
	 * 100ms y la segunda se incrementa cada 100ms. Es la información que
	 * se envía con cada paquete de datos a la aplicación de Alejandro*/
	tick.tiempo_temporal_med+=1;
	if (tick.tiempo_temporal_med==100)
	{
			tick.tiempo_temporal_med=0;
			tick.tiempo_med+=1;
	}

	tick.t_dac++; //Establece el tiempo para el cual se ejecuta la rutina de control de motores

	/*Las siguientes medidas permiten actualizar la velocidad
	 * de las ruedas cuando están paradas. Si transcurre más de 300ms
	 * sin una medida nueva en el hall, las ruedas están paradas.
	 * Se pone hall[i] a su valor más alto y se activa la señal medida
	 * nueva_hall[i]
	 * */
	for(i=0;i<2;i++)
	{
		tick.t_med_hall[i]+=1;
		if(tick.t_med_hall[i]>300)
		{
			tick.t_med_hall[i]=0;
			hall[i]=4294967295;
			medida_nueva_hall[i]=1;
		}
	}

	//Establece un tiempo mínimo para cambiar de estado y evitar secuencias
	state.tiempo_estado++;

	//audio.tiempo++;

	/*Para la función de control de motores. Se necesitan algunos delays
	 * que se gestionan en estas variables*/
	for(i=0;i<2;i++)
	{
		tmotor.t_arranque[i]+=1;
		tmotor.t_delay_pid[i]+=1;
	}

	//Algunos delays son necesarias para el envío de
	//los comandos durante el proceso de inicialización
	audio.tiempo++;

}

void InicializaVariables(void)
{
	  uint8_t i;
	  tick.tiempo=0;
	  tick.tiempo_backward=0;
	  tick.t_dac=0;
	  tick.tiempo_temporal_med=0;
	  tick.tiempo_med=0;
	  for(i=0;i<2;i++)
		  tick.t_med_hall[i]=0;

	  par.tiempo=TIEMPO_MOV;
	  par.tiempo_rotate = TIEMPO_ROT;
	  par.tiempo_atras = TIEMPO_ATRAS;
	  par.vel=VEL;
	  par.obs_near=DISTANCIA_OBSTACULO_1;
	  par.obs_far=DISTANCIA_OBSTACULO_2;
}

void GestorTareas(void)
{
	/*  Esta función es el núcleo del programa de la Silla Exploradora.
	 *  Llama en bucle sin fin a cada una de las tareas. Se debe tener
	 *  en cuenta que ninguna de ellas puede ser bloqueante para la correcta
	 *  ejecución del conjunto.
	 *
	 * */

	GestorMotores();
	GestorComunicaciones();
	GestorSensores();
	GestorInterfaz();
	Navegacion();
	GestorAudio();
}

/* USER CODE END 4 */

void Error_Handler(void)
{
  __disable_irq();
  while (1)
  {
  }
}

/************************ (C) COPYRIGHT STMicroelectronics *****END OF FILE****/
